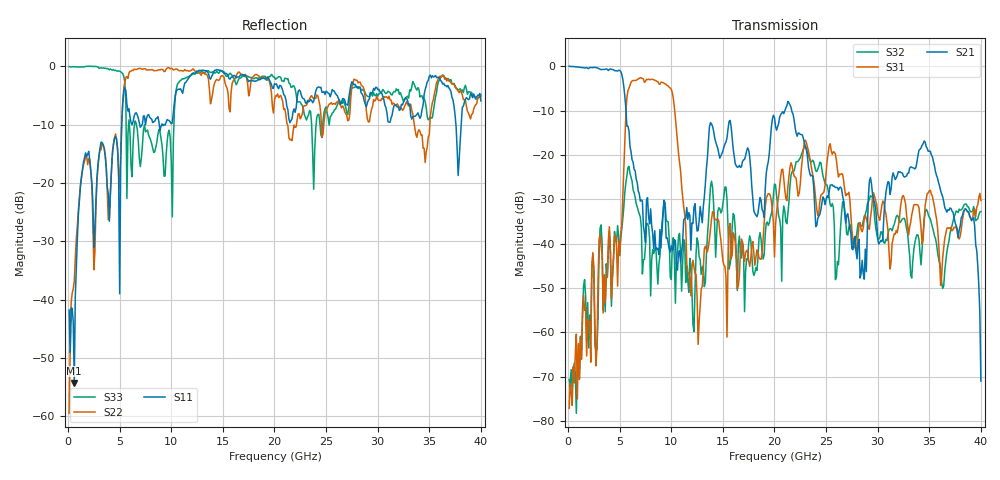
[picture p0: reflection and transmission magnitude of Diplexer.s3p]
# MHz MA S R 50.0
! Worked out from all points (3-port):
!   400 points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, 100 MHz to 40 GHz, reference 50 ohm
!   strongest paths, dB at 100 MHz, 10.1 GHz, 20.1 GHz, 30.1 GHz, 40 GHz:
!     S21: 0.0, -41.4, -13.5, -40.1, -71.0
!     S31: -77.1, -6.0, -35.9, -34.1, -30.3
!     S32: -70.7, -40.2, -26.7, -39.0, -32.8
!   lowest |S11| = -54.3 dB at 600 MHz (marker M1), VSWR 1.00, Z = 50.1 - j0.186 ohm
!   |S11| at or under -10 dB: start of sweep to 5.198 GHz; 6.945 GHz to 7.163 GHz (218.3 MHz wide, 3.09 % of centre); 37.58 GHz to 38.1 GHz (515.5 MHz wide, 1.36 % of centre) (the widest 3 of 8)
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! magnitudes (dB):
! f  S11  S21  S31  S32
! 100 MHz  -41.8  0.0  -77.1  -70.7
! 600 MHz  -54.3  -0.1  -71.4  -67.0
! 1.6 GHz  -15.6  -0.4  -55.0  -48.1
! 6.2 GHz  -10.0  -21.1  -3.3  -25.9
! 10.1 GHz  -9.7  -41.4  -6.0  -40.2
! 12.6 GHz  -0.8  -37.0  -62.7  -39.8
! 20.1 GHz  -3.0  -13.5  -35.9  -26.7
! 28.3 GHz  -3.7  -47.8  -35.3  -35.8
! 34.6 GHz  -4.0  -17.1  -31.4  -32.9
! 40 GHz  -5.9  -71.0  -30.3  -32.8
